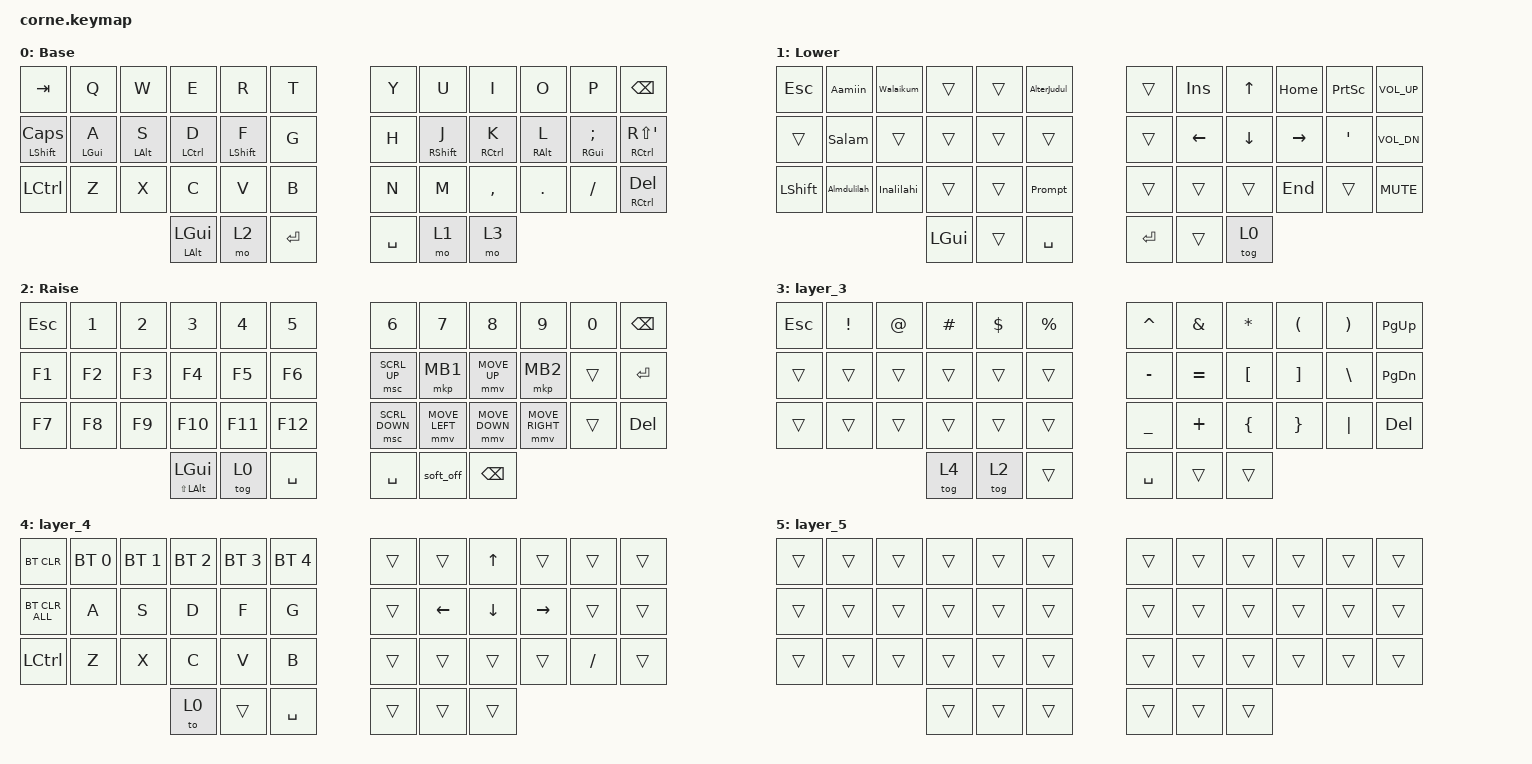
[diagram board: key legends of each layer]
/*
 * Copyright (c) 2020 The ZMK Contributors
 *
 * SPDX-License-Identifier: MIT
 */

#include <behaviors.dtsi>
#include <dt-bindings/zmk/bt.h>
#include <dt-bindings/zmk/keys.h>
#include <dt-bindings/zmk/pointing.h>

/ {
    behaviors {
        EscTab: EscTab {
            compatible = "zmk,behavior-tap-dance";
            label = "ESCTAB";
            #binding-cells = <0>;
            bindings = <&kp TAB>, <&kp ESC>;

            tapping-term-ms = <200>;
        };

        SingleQuote: SingleQuote {
            compatible = "zmk,behavior-tap-dance";
            label = "SINGLEQUOTE";
            #binding-cells = <0>;
            bindings = <&kp SINGLE_QUOTE>, <&kp DOUBLE_QUOTES>;

            tapping-term-ms = <180>;
        };

        HMShiftR: HMShiftR {
            compatible = "zmk,behavior-hold-tap";
            label = "HMSHIFTR";
            bindings = <&kp>, <&kp>;

            #binding-cells = <2>;
            tapping-term-ms = <250>;
            hold-while-undecided;
            hold-trigger-key-positions = <1 2 3 4 5 13 14 15 16 17 25 26 27 28 29 36 37 38 0 12 24>;
            hold-trigger-on-release;
            flavor = "tap-preferred";
        };

        HMShiftL: HMShiftL {
            compatible = "zmk,behavior-hold-tap";
            label = "HMSHIFTL";
            bindings = <&kp>, <&kp>;

            #binding-cells = <2>;
            tapping-term-ms = <250>;
            hold-while-undecided;
            hold-trigger-on-release;
            hold-trigger-key-positions = <21 39 40 30 18 6 19 7 41 31 32 20 8 9 33 34 22 10 23 35 11>;
            flavor = "tap-preferred";
        };

        HMR: HMR {
            compatible = "zmk,behavior-hold-tap";
            label = "HMR";
            bindings = <&kp>, <&kp>;

            #binding-cells = <2>;
            tapping-term-ms = <250>;
            hold-while-undecided;
            hold-trigger-key-positions = <1 2 3 4 5 13 14 15 16 17 25 26 27 28 29 36 37 38 0 12 24>;
            hold-trigger-on-release;
            flavor = "tap-preferred";
        };

        HML: HML {
            compatible = "zmk,behavior-hold-tap";
            label = "HML";
            bindings = <&kp>, <&kp>;

            #binding-cells = <2>;
            tapping-term-ms = <250>;
            hold-while-undecided;
            hold-trigger-on-release;
            hold-trigger-key-positions = <21 39 40 30 18 6 19 7 41 31 32 20 8 9 33 34 22 10 23 35 11>;
            flavor = "tap-preferred";
        };
    };

    macros {
        Salam: Salam {
            compatible = "zmk,behavior-macro";
            #binding-cells = <0>;
            bindings = <&kp LS(A) &kp S &kp S &kp A &kp L &kp A &kp M &kp U &kp A &kp L &kp A &kp I &kp K &kp U &kp M &kp SPACE &kp W &kp R &kp SPACE &kp W &kp B>;
            label = "SALAM";
            wait-ms = <0>;
        };

        AlterJudul: AlterJudul {
            compatible = "zmk,behavior-macro";
            #binding-cells = <0>;
            bindings = <&kp LS(B) &kp U &kp A &kp T &kp SPACE &kp A &kp L &kp T &kp E &kp R &kp N &kp A &kp T &kp I &kp F &kp SPACE &kp J &kp U &kp D &kp U &kp L &kp SPACE &kp D &kp A &kp R &kp I &kp SPACE &kp T &kp U &kp L &kp I &kp S &kp A &kp N &kp SPACE &kp D &kp I &kp SPACE &kp A &kp T &kp A &kp S>;
            label = "ALTERJUDUL";
            tap-ms = <0>;
            wait-ms = <0>;
        };

        Inalilahi: Inalilahi {
            compatible = "zmk,behavior-macro";
            #binding-cells = <0>;
            bindings = <&kp LS(I) &kp N &kp N &kp A &kp L &kp I &kp L &kp L &kp A &kp H &kp I &kp SPACE &kp W &kp A &kp I &kp N &kp A &kp I &kp L &kp A &kp I &kp H &kp I &kp SPACE &kp R &kp O &kp J &kp I &kp U &kp N>;
            label = "INALILAHI";
            tap-ms = <0>;
            wait-ms = <0>;
        };

        Almdulilah: Almdulilah {
            compatible = "zmk,behavior-macro";
            #binding-cells = <0>;
            bindings = <&kp LS(A) &kp L &kp H &kp A &kp M &kp D &kp U &kp L &kp I &kp L &kp L &kp A &kp H &kp I &kp SPACE &kp R &kp A &kp B &kp B &kp I &kp L &kp SPACE &kp SQT &kp A &kp L &kp A &kp M &kp I &kp I &kp N>;
            label = "ALMDULILAH";
            tap-ms = <0>;
            wait-ms = <0>;
        };

        Walaikum: Walaikum {
            compatible = "zmk,behavior-macro";
            #binding-cells = <0>;
            bindings = <&kp LS(W) &kp A &kp SQT &kp A &kp L &kp A &kp I &kp K &kp U &kp M &kp U &kp S &kp S &kp A &kp L &kp A &kp A &kp M>;
            label = "WALAIKUM";
            tap-ms = <0>;
            wait-ms = <0>;
        };

        Aamiin: Aamiin {
            compatible = "zmk,behavior-macro";
            #binding-cells = <0>;
            bindings = <&kp LS(A) &kp A &kp M &kp I &kp I &kp N &kp SPACE &kp LS(Y) &kp A &kp SPACE &kp LS(R) &kp O &kp B &kp B &kp A &kp L &kp SPACE &kp LS(A) &kp L &kp A &kp M &kp I &kp I &kp N>;
            label = "AAMIIN";
            tap-ms = <0>;
            wait-ms = <0>;
        };

        Prompt: Prompt {
            compatible = "zmk,behavior-macro";
            #binding-cells = <0>;
            bindings = <&kp LS(B) &kp U &kp A &kp T &kp SPACE &kp T &kp U &kp L &kp I &kp S &kp A &kp N &kp SPACE &kp B &kp A &kp H &kp A &kp S &kp A &kp SPACE &kp LS(I) &kp N &kp D &kp O &kp N &kp E &kp S &kp I &kp A &kp SPACE &kp B &kp E &kp R &kp G &kp A &kp Y &kp A &kp SPACE &kp H &kp A &kp R &kp D &kp N &kp E &kp W &kp S &kp COMMA &kp SPACE &kp D &kp A &kp T &kp A &kp SPACE &kp D &kp A &kp N &kp SPACE &kp I &kp N &kp F &kp O &kp R &kp M &kp A &kp S &kp I &kp SPACE &kp D &kp I &kp A &kp M &kp B &kp I &kp L &kp SPACE &kp D &kp A &kp R &kp I &kp SPACE &kp T &kp U &kp L &kp I &kp S &kp A &kp N &kp SPACE &kp D &kp I &kp SPACE &kp B &kp A &kp W &kp A &kp H &kp SPACE &kp I &kp N &kp I &kp COLON>;
            label = "PROMPT";
            wait-ms = <1>;
        };
    };

    combos {
        compatible = "zmk,combos";

        Tabs {
            bindings = <&kp TAB>;
            key-positions = <1 2>;
            layers = <0>;
            timeout-ms = <50>;
        };

        EscC {
            bindings = <&kp ESC>;
            key-positions = <1 2 3>;
            timeout-ms = <50>;
            layers = <0>;
        };

        caps {
            bindings = <&kp CAPSLOCK>;
            key-positions = <17 18>;
            timeout-ms = <50>;
        };
    };

    keymap {
        compatible = "zmk,keymap";

        default_layer {
            // -----------------------------------------------------------------------------------------
            // |  TAB |  Q  |  W  |  E  |  R  |  T  |   |  Y  |  U   |  I  |  O  |  P  | BKSP |
            // | CTRL |  A  |  S  |  D  |  F  |  G  |   |  H  |  J   |  K  |  L  |  ;  |  '   |
            // | SHFT |  Z  |  X  |  C  |  V  |  B  |   |  N  |  M   |  ,  |  .  |  /  | ESC  |
            //                    | GUI | LWR | SPC |   | ENT | RSE  | ALT |

            display-name = "Base";
            bindings = <
&kp TAB          &kp Q            &kp W            &kp E                  &kp R                   &kp T        &kp Y      &kp U                    &kp I                 &kp O             &kp P                     &kp BSPC
&mt LSHIFT CAPS  &HML LEFT_GUI A  &HML LEFT_ALT S  &HML LEFT_CONTROL D    &HMShiftL LEFT_SHIFT F  &kp G        &kp H      &HMShiftR RIGHT_SHIFT J  &HMR RIGHT_CONTROL K  &HMR RIGHT_ALT L  &HMR RIGHT_GUI SEMICOLON  &mt RCTRL RS(SQT)
&kp LCTRL        &kp Z            &kp X            &kp C                  &kp V                   &kp B        &kp N      &kp M                    &kp COMMA             &kp DOT           &kp FSLH                  &mt RIGHT_CONTROL DELETE
                                                   &mt LEFT_ALT LEFT_GUI  &mo 2                   &kp ENTER    &kp SPACE  &mo 1                    &mo 3
            >;
        };

        lower_layer {
            // -----------------------------------------------------------------------------------------
            // |  TAB |  1  |  2  |  3  |  4  |  5  |   |  6  |  7  |  8  |  9  |  0  | BKSP |
            // | BTCLR| BT1 | BT2 | BT3 | BT4 | BT5 |   | LFT | DWN |  UP | RGT |     |      |
            // | SHFT |     |     |     |     |     |   |     |     |     |     |     |      |
            //                    | GUI |     | SPC |   | ENT |     | ALT |

            display-name = "Lower";
            bindings = <
&kp ESCAPE  &Aamiin      &Walaikum   &trans    &trans  &AlterJudul    &trans   &kp INS         &kp UP_ARROW    &kp HOME   &kp PRINTSCREEN   &kp C_VOLUME_UP
&trans      &Salam       &trans      &trans    &trans  &trans         &trans   &kp LEFT_ARROW  &kp DOWN_ARROW  &kp RIGHT  &kp SINGLE_QUOTE  &kp C_VOL_DN
&kp LSHFT   &Almdulilah  &Inalilahi  &trans    &trans  &Prompt        &trans   &trans          &trans          &kp END    &trans            &kp K_MUTE
                                     &kp LGUI  &trans  &kp SPACE      &kp RET  &trans          &tog 0
            >;
        };

        raise_layer {
            // -----------------------------------------------------------------------------------------
            // |  TAB |  !  |  @  |  #  |  $  |  %  |   |  ^  |  &  |  *  |  (  |  )  | BKSP |
            // | CTRL |     |     |     |     |     |   |  -  |  =  |  [  |  ]  |  \  |  `   |
            // | SHFT |     |     |     |     |     |   |  _  |  +  |  {  |  }  | "|" |  ~   |
            //                    | GUI |     | SPC |   | ENT |     | ALT |

            display-name = "Raise";
            bindings = <
&kp ESC  &kp NUMBER_1  &kp NUMBER_2  &kp NUMBER_3               &kp NUMBER_4  &kp N5       &kp NUMBER_6    &kp N7          &kp N8          &kp NUMBER_9     &kp NUMBER_0  &kp BSPC
&kp F1   &kp F2        &kp F3        &kp F4                     &kp F5        &kp F6       &msc SCRL_UP    &mkp MB1        &mmv MOVE_UP    &mkp MB2         &trans        &kp ENTER
&kp F7   &kp F8        &kp F9        &kp F10                    &kp F11       &kp F12      &msc SCRL_DOWN  &mmv MOVE_LEFT  &mmv MOVE_DOWN  &mmv MOVE_RIGHT  &trans        &kp DEL
                                     &mt LS(LEFT_ALT) LEFT_GUI  &tog 0        &kp SPACE    &kp SPACE       &soft_off       &kp BACKSPACE
            >;
        };

        layer_3 {
            bindings = <
&kp ESCAPE  &kp EXCLAMATION  &kp AT_SIGN  &kp HASH  &kp DOLLAR  &kp PERCENT    &kp CARET       &kp AMPERSAND  &kp ASTERISK      &kp LEFT_PARENTHESIS  &kp RIGHT_PARENTHESIS  &kp PAGE_UP
&trans      &trans           &trans       &trans    &trans      &trans         &kp MINUS       &kp EQUAL      &kp LEFT_BRACKET  &kp RIGHT_BRACKET     &kp BACKSLASH          &kp PAGE_DOWN
&trans      &trans           &trans       &trans    &trans      &trans         &kp UNDERSCORE  &kp PLUS       &kp LEFT_BRACE    &kp RIGHT_BRACE       &kp PIPE               &kp DEL
                                          &tog 4    &tog 2      &trans         &kp SPACE       &trans         &trans
            >;
        };

        layer_4 {
            bindings = <
&bt BT_CLR      &bt BT_SEL 0  &bt BT_SEL 1  &bt BT_SEL 2  &bt BT_SEL 3  &bt BT_SEL 4    &trans  &trans    &kp UP_ARROW    &trans           &trans     &trans
&bt BT_CLR_ALL  &kp A         &kp S         &kp D         &kp F         &kp G           &trans  &kp LEFT  &kp DOWN_ARROW  &kp RIGHT_ARROW  &trans     &trans
&kp LCTRL       &kp Z         &kp X         &kp C         &kp V         &kp B           &trans  &trans    &trans          &trans           &kp SLASH  &trans
                                            &to 0         &trans        &kp SPACE       &trans  &trans    &trans
            >;
        };

        layer_5 {
            bindings = <
&trans  &trans  &trans  &trans  &trans  &trans    &trans  &trans  &trans  &trans  &trans  &trans
&trans  &trans  &trans  &trans  &trans  &trans    &trans  &trans  &trans  &trans  &trans  &trans
&trans  &trans  &trans  &trans  &trans  &trans    &trans  &trans  &trans  &trans  &trans  &trans
                        &trans  &trans  &trans    &trans  &trans  &trans
            >;
        };
    };
};
